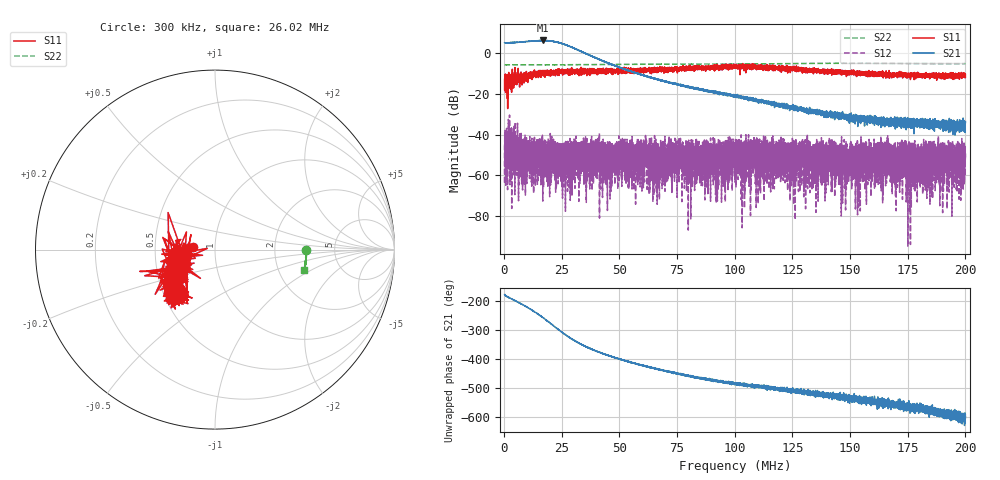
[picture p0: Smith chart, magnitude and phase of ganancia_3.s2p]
# Hz S DB R 50
! CMT, M5065, 19127446, 24.2.4/2
! Date: 11/8/2024 4:49:53 PM
! Data: Format (Calibration Info)
! Freq	S11:dB/Ang(F2)	S21:dB/Ang(F2)	S12:dB/Ang(F2)	S22:dB/Ang(F2)
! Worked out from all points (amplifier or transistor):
!   9000 points, 300 kHz to 200 MHz, reference 50 ohm
!   highest |S21| = 6.1 dB at 16.81 MHz (marker M1)
!   |S21| within 3 dB of that: start of sweep to 28.71 MHz
!   unconditionally stable (mu >= 1): start of sweep to end of sweep
!   at 33.59 MHz: K = 85.05, MAG = 2.7 dB, |S12| = -49.3 dB
!   at 100.2 MHz: K = 693.54, MAG = -18.5 dB, |S12| = -47.0 dB
!   at 200 MHz: K = 4435.26, MAG = -31.7 dB, |S12| = -49.2 dB
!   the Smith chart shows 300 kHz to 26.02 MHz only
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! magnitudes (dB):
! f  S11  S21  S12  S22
! 300 kHz  -18.0  4.9  -44.9  -5.9
! 2.852 MHz  -13.5  5.0  -49.6  -5.9
! 8.955 MHz  -10.6  5.4  -48.1  -5.9
! 16.81 MHz  -8.7  6.1  -43.4  -5.8
! 25.95 MHz  -9.2  4.3  -50.1  -5.8
! 33.59 MHz  -8.7  0.7  -49.3  -5.8
! 44.31 MHz  -8.8  -4.6  -57.7  -5.7
! 61.81 MHz  -7.9  -11.5  -45.7  -5.6
! 66.87 MHz  -7.5  -12.9  -48.2  -5.5
! 71.65 MHz  -8.3  -14.4  -59.6  -5.5
! 86.49 MHz  -8.0  -18.1  -46.1  -5.5
! 88.53 MHz  -7.3  -18.6  -54.6  -5.5
! 100.2 MHz  -6.3  -21.1  -47.0  -5.4
! 133.4 MHz  -9.4  -28.5  -47.9  -5.1
! 166.7 MHz  -10.8  -33.2  -59.4  -5.1
! 169 MHz  -10.6  -35.7  -54.1  -5.1
! 171.6 MHz  -9.0  -35.4  -47.7  -5.1
! 181.4 MHz  -10.2  -32.9  -50.4  -5.2
! 184.4 MHz  -11.1  -34.3  -48.4  -5.2
! 193.6 MHz  -10.9  -34.7  -50.3  -5.3
! 197.4 MHz  -11.2  -37.1  -50.0  -5.3
! 200 MHz  -10.6  -33.6  -49.2  -5.3
